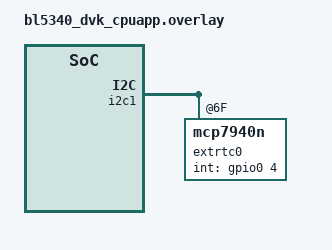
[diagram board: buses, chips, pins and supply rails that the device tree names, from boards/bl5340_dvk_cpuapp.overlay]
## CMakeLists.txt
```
# SPDX-License-Identifier: Apache-2.0

cmake_minimum_required(VERSION 3.28.0)
find_package(Zephyr REQUIRED HINTS $ENV{ZEPHYR_BASE})
project(counter)

FILE(GLOB app_sources src/*.c)
target_sources(app PRIVATE ${app_sources})

if(CONFIG_BUILD_WITH_TFM)
  target_include_directories(app PRIVATE
    $<TARGET_PROPERTY:tfm,TFM_BINARY_DIR>/api_ns/interface/include
  )
endif()
```

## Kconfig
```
# Config for counter alarm sample

# Copyright (c) 2019 Nordic Semiconductor ASA
# SPDX-License-Identifier: Apache-2.0

config COUNTER_SAM0_TC32
	bool
	default y if BOARD_ATSAMD20_XPRO

source "Kconfig.zephyr"
```

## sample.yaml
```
sample:
  name: Counter RTC Driver Sample
common:
  tags:
    - drivers
    - counter
  harness: console
  harness_config:
    type: multi_line
    ordered: true
    regex:
      - "Counter alarm sample"
      - "Set alarm in 2 sec"
      - "!!! Alarm !!!"
      - "Now: [2|3]"
  depends_on: counter
tests:
  sample.drivers.counter.alarm:
    platform_allow:
      - nucleo_f746zg
      - nrf51dk/nrf51822
      - nrf52dk/nrf52832
      - nrf52840dk/nrf52840
      - nrf5340dk/nrf5340/cpuapp
      - nrf54h20dk/nrf54h20/cpuapp
      - nrf54h20dk/nrf54h20/cpuflpr
      - nrf54h20dk/nrf54h20/cpuppr
      - nrf54h20dk/nrf54h20/cpurad
      - nrf54l15dk/nrf54l15/cpuapp
      - nrf54l15dk/nrf54l15/cpuflpr
      - nrf54lm20dk/nrf54lm20a/cpuapp
      - nrf54lm20dk/nrf54lm20b/cpuapp
      - nrf7120dk/nrf7120/cpuapp
      - nrf9160dk/nrf9160
      - sama7g54_ek
      - samd20_xpro
      - bl5340_dvk/nrf5340/cpuapp
      - gd32e103v_eval
      - gd32e507z_eval
      - gd32f403z_eval
      - gd32f450i_eval
      - gd32f450z_eval
      - gd32e507v_start
      - gd32f407v_start
      - gd32f450v_start
      - gd32f470i_eval
      - stm32h735g_disco
      - stm32h573i_dk
      - rpi_pico
      - mr_canhubk3
      - s32z2xxdc2/s32z270/rtu0
      - s32z2xxdc2/s32z270/rtu1
      - s32z2xxdc2@D/s32z270/rtu0
      - s32z2xxdc2@D/s32z270/rtu1
      - lp_em_cc2340r5
      - slwrb4180b
      - xg24_rb4187c
      - xg27_rb4194a
      - xg29_rb4412a
      - lp_em_cc35x1/cc3551e
      - lp_em_cc2340r5moda
      - lp_em_cc2340r53_wcsp
    integration_platforms:
      - nucleo_f746zg
  sample.drivers.counter.alarm.stm32_rtc:
    # This test case is needed because when Timer Counter is available,
    # RTC Counter will never be selected in the test.
    # CONFIG_COUNTER_RTC_STM32 flag is enabled by default when RTC is enabled.
    filter: CONFIG_SOC_FAMILY_STM32 and CONFIG_COUNTER_RTC_STM32
    extra_configs:
      # Timer Counter flag needs to be disabled for RTC node to be selected
      - CONFIG_COUNTER_TIMER_STM32=n
    tags:
      - rtc
```

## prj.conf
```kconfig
CONFIG_PRINTK=y
CONFIG_COUNTER=y
```

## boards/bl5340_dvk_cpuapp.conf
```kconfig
# Enable RTC
CONFIG_I2C=y
CONFIG_COUNTER=y
CONFIG_COUNTER_MICROCHIP_MCP7940N=y
CONFIG_COUNTER_INIT_PRIORITY=65
```

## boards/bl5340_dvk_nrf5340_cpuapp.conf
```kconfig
# Enable RTC
CONFIG_I2C=y
CONFIG_COUNTER_INIT_PRIORITY=65
```

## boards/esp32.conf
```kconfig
CONFIG_HEAP_MEM_POOL_SIZE=256
CONFIG_COUNTER_ESP32_TG0_T0=y
```

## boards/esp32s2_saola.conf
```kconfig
CONFIG_COUNTER_ESP32_TG0_T0=y
```

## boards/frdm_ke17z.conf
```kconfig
#
# Copyright 2025 NXP
#
# SPDX-License-Identifier: Apache-2.0
#

CONFIG_COUNTER_MCUX_LPIT=y
```

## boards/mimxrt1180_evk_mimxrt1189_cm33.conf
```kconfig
#
# Copyright 2024-2025 NXP
#
# SPDX-License-Identifier: Apache-2.0
#

CONFIG_COUNTER_MCUX_LPIT=y
```

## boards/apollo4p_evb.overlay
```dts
&timer0 {
	counter0: counter {
		status = "okay";
	};
};
```

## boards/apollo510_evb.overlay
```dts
&counter0 {
	status = "okay";
};
```

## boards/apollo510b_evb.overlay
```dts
/*****************************************************************************
 * SPDX-FileCopyrightText: 2025 Ambiq Micro Inc.
 *
 * SPDX-License-Identifier: Apache-2.0
 ***************************************************************************
 */

&counter0 {
	status = "okay";
};
```

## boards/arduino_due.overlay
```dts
&tc0 {
        clk = <4>;
        status = "okay";
};
```

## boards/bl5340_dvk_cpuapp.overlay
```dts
/*
 * Copyright (c) 2021 Laird Connectivity
 *
 * SPDX-License-Identifier: Apache-2.0
 */

&i2c1 {
	/* Connect MCP7940N MPF pin TP9 to P0.04 */
	extrtc0: mcp7940n@6F {
		int-gpios = <&gpio0 4 GPIO_ACTIVE_HIGH>;
	};
};
```

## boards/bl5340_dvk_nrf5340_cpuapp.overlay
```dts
/*
 * Copyright (c) 2021 Laird Connectivity
 *
 * SPDX-License-Identifier: Apache-2.0
 */

&i2c1 {
	/* Connect MCP7940N MFP pin TP9 to P0.04 */
	extrtc0: mcp7940n@6f {
		int-gpios = <&gpio0 4 GPIO_ACTIVE_HIGH>;
	};
};
```

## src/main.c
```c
/*
 * Copyright (c) 2019 Linaro Limited
 *
 * SPDX-License-Identifier: Apache-2.0
 */

#include <zephyr/kernel.h>

#include <zephyr/device.h>
#include <zephyr/drivers/counter.h>
#include <zephyr/sys/printk.h>

#define DELAY 2000000
#define ALARM_CHANNEL_ID 0
#define ALARM_FLAGS 0

struct counter_alarm_cfg alarm_cfg;

#if defined(CONFIG_BOARD_SAMD20_XPRO)
#define SAMPLE_TIMER DT_NODELABEL(tc4)
#elif defined(CONFIG_SOC_FAMILY_ATMEL_SAM)
#define SAMPLE_TIMER DT_NODELABEL(tc0)
#elif defined(CONFIG_COUNTER_MICROCHIP_MCP7940N)
#define SAMPLE_TIMER DT_NODELABEL(extrtc0)
#elif defined(CONFIG_COUNTER_NRF_RTC)
#define SAMPLE_TIMER DT_NODELABEL(rtc0)
#elif defined(CONFIG_COUNTER_NRF_TIMER)
#define SAMPLE_TIMER DT_CHOSEN(counter)
#elif defined(CONFIG_COUNTER_TIMER_STM32)
#define SAMPLE_TIMER DT_INST(0, st_stm32_counter)
#elif defined(CONFIG_COUNTER_RTC_STM32)
#define SAMPLE_TIMER DT_INST(0, st_stm32_rtc)
#elif defined(CONFIG_COUNTER_SMARTBOND_TIMER)
#define SAMPLE_TIMER DT_NODELABEL(timer3)
#elif defined(CONFIG_COUNTER_NATIVE_SIM)
#define SAMPLE_TIMER DT_NODELABEL(counter0)
#elif defined(CONFIG_COUNTER_XLNX_AXI_TIMER)
#define SAMPLE_TIMER DT_INST(0, xlnx_xps_timer_1_00_a)
#elif defined(CONFIG_COUNTER_TMR_ESP32)
#define SAMPLE_TIMER DT_INST(0, espressif_esp32_counter)
#elif defined(CONFIG_COUNTER_MCUX_SYSCTR)
#define SAMPLE_TIMER DT_NODELABEL(sys_ctr)
#elif defined(CONFIG_COUNTER_MCUX_CTIMER)
#define SAMPLE_TIMER DT_NODELABEL(ctimer0)
#elif defined(CONFIG_COUNTER_MSPM0_TIMER)
#define SAMPLE_TIMER DT_ALIAS(counter)
#elif defined(CONFIG_COUNTER_NXP_S32_SYS_TIMER)
#define SAMPLE_TIMER DT_NODELABEL(stm0)
#elif defined(CONFIG_COUNTER_TIMER_GD32)
#define SAMPLE_TIMER DT_NODELABEL(timer0)
#elif defined(CONFIG_COUNTER_GECKO_RTCC)
#define SAMPLE_TIMER DT_NODELABEL(rtcc0)
#elif defined(CONFIG_COUNTER_SILABS_BURTC)
#define SAMPLE_TIMER DT_NODELABEL(burtc0)
#elif defined(CONFIG_COUNTER_GECKO_STIMER)
#define SAMPLE_TIMER DT_CHOSEN(silabs_sleeptimer)
#elif defined(CONFIG_COUNTER_INFINEON_CAT1) || defined(CONFIG_COUNTER_INFINEON_TCPWM) || \
	defined(CONFIG_COUNTER_INFINEON_TCPWM_GRP)
#define SAMPLE_TIMER DT_NODELABEL(counter0_1)
#elif defined(CONFIG_COUNTER_AMBIQ)
#define SAMPLE_TIMER DT_NODELABEL(counter0)
#elif defined(CONFIG_COUNTER_SNPS_DW)
#define SAMPLE_TIMER DT_NODELABEL(timer0)
#elif defined(CONFIG_COUNTER_TIMER_RPI_PICO)
#ifdef CONFIG_SOC_SERIES_RP2040
#define SAMPLE_TIMER DT_NODELABEL(timer)
#elif CONFIG_SOC_SERIES_RP2350
#define SAMPLE_TIMER DT_NODELABEL(timer0)
#endif
#elif defined(CONFIG_COUNTER_TIMER_MAX32)
#define SAMPLE_TIMER DT_NODELABEL(counter0)
#elif defined(CONFIG_COUNTER_WUT_MAX32)
#define SAMPLE_TIMER DT_NODELABEL(counter_wut1)
#elif defined(CONFIG_COUNTER_RA_AGT)
#define SAMPLE_TIMER DT_NODELABEL(counter0)
#elif defined(CONFIG_COUNTER_RENESAS_RZ_GTM)
#define SAMPLE_TIMER DT_INST(0, renesas_rz_gtm_counter)
#elif defined(CONFIG_COUNTER_CC23X0_RTC)
#define SAMPLE_TIMER DT_NODELABEL(rtc0)
#elif defined(CONFIG_COUNTER_RENESAS_RZ_CMTW)
#define SAMPLE_TIMER DT_INST(0, renesas_rz_cmtw_counter)
#elif defined(CONFIG_COUNTER_MCHP_SAM_PIT64B)
#define SAMPLE_TIMER DT_NODELABEL(pit64b1)
#undef ALARM_FLAGS
#define ALARM_FLAGS COUNTER_ALARM_CFG_ABSOLUTE
#elif defined(CONFIG_COUNTER_MCHP_TC_G2)
#define SAMPLE_TIMER DT_NODELABEL(tc0_ch0)
#elif defined(CONFIG_COUNTER_MCUX_RTC_JDP)
#define SAMPLE_TIMER DT_NODELABEL(rtc)
#elif defined(CONFIG_COUNTER_MCUX_RTC)
#define SAMPLE_TIMER DT_NODELABEL(rtc)
#elif defined(CONFIG_COUNTER_RENESAS_RZA2M_OSTM)
#define SAMPLE_TIMER DT_INST(0, renesas_rza2m_ostm_counter)
#elif defined(CONFIG_SOC_FAMILY_MICROCHIP_PIC32CX_SG)
#define SAMPLE_TIMER DT_ALIAS(counter)
#elif defined(CONFIG_SOC_FAMILY_MICROCHIP_PIC32CM_JH)
#define SAMPLE_TIMER DT_ALIAS(counter)
#elif defined(CONFIG_COUNTER_ITE_IT51XXX)
#define SAMPLE_TIMER DT_NODELABEL(counter0)
#elif defined(CONFIG_SOC_SERIES_MEC15XX)
#define SAMPLE_TIMER DT_NODELABEL(timer4)
#elif defined(CONFIG_SOC_SERIES_MEC172X)
#define SAMPLE_TIMER DT_NODELABEL(timer4)
#elif defined(CONFIG_SOC_MEC1753_QSZ)
#define SAMPLE_TIMER DT_NODELABEL(timer4)
#else
#error Unable to find a counter device node in devicetree
#endif

static void test_counter_interrupt_fn(const struct device *counter_dev,
				      uint8_t chan_id, uint32_t ticks,
				      void *user_data)
{
	struct counter_alarm_cfg *config = user_data;
	uint32_t now_ticks;
	uint64_t now_usec;
	int now_sec;
	int err;

	err = counter_get_value(counter_dev, &now_ticks);
	if (!counter_is_counting_up(counter_dev)) {
		now_ticks = counter_get_top_value(counter_dev) - now_ticks;
	}

	if (err) {
		printk("Failed to read counter value (err %d)", err);
		return;
	}

	now_usec = counter_ticks_to_us(counter_dev, now_ticks);
	now_sec = (int)(now_usec / USEC_PER_SEC);

	printk("!!! Alarm !!!\n");
	printk("Now: %u\n", now_sec);

	/* Set a new alarm with a double length duration */
	config->ticks = config->ticks * 2U;

	printk("Set alarm in %u sec (%u ticks)\n",
	       (uint32_t)(counter_ticks_to_us(counter_dev,
					   config->ticks) / USEC_PER_SEC),
	       config->ticks);

	err = counter_set_channel_alarm(counter_dev, ALARM_CHANNEL_ID,
					user_data);
	if (err != 0) {
		printk("Alarm could not be set\n");
	}
}

int main(void)
{
	const struct device *const counter_dev = DEVICE_DT_GET(SAMPLE_TIMER);
	int err;

	printk("Counter alarm sample\n\n");

	if (!device_is_ready(counter_dev)) {
		printk("device not ready.\n");
		return 0;
	}

	counter_start(counter_dev);

	alarm_cfg.flags = ALARM_FLAGS;
	alarm_cfg.ticks = counter_us_to_ticks(counter_dev, DELAY);
	alarm_cfg.callback = test_counter_interrupt_fn;
	alarm_cfg.user_data = &alarm_cfg;

	err = counter_set_channel_alarm(counter_dev, ALARM_CHANNEL_ID,
					&alarm_cfg);
	printk("Set alarm in %u sec (%u ticks)\n",
	       (uint32_t)(counter_ticks_to_us(counter_dev,
					   alarm_cfg.ticks) / USEC_PER_SEC),
	       alarm_cfg.ticks);

	if (-EINVAL == err) {
		printk("Alarm settings invalid\n");
	} else if (-ENOTSUP == err) {
		printk("Alarm setting request not supported\n");
	} else if (err != 0) {
		printk("Error\n");
	}

	while (1) {
		k_sleep(K_FOREVER);
	}
	return 0;
}
```
